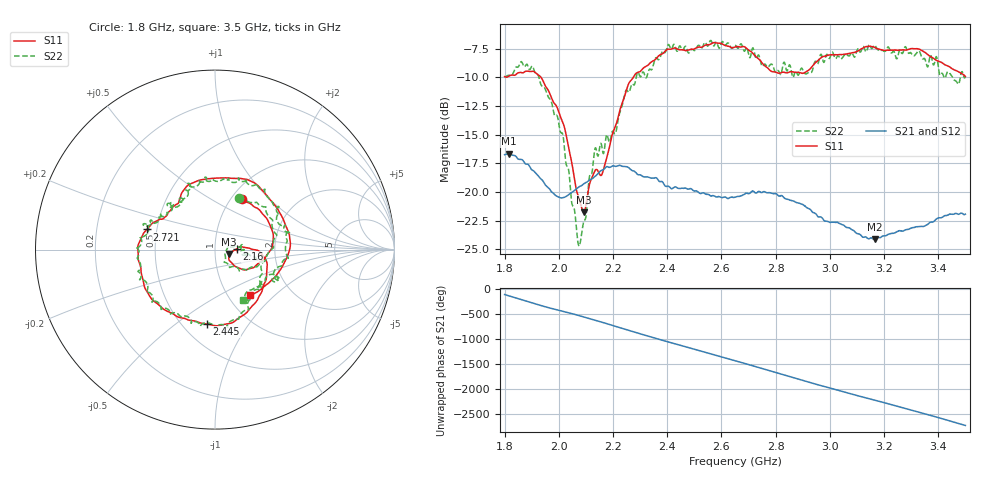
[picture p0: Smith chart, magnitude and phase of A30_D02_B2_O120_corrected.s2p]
! Created with skrf 1.9.0 (http://scikit-rf.org).
# Hz S RI R 50.0
!freq ReS11 ImS11 ReS21 ImS21 ReS12 ImS12 ReS22 ImS22
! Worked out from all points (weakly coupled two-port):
!   1601 points, 1.8 GHz to 3.5 GHz, reference 50 ohm
!   highest |S21| = -16.67 dB at 1.816 GHz (marker M1); lowest = -24.1 dB at 3.165 GHz (marker M2)
!   lowest |S11| = -21.8 dB at 2.092 GHz (marker M3), VSWR 1.18, Z = 58.3 - j2.94 ohm
!   |S11| at or under -10 dB: 1.934 GHz to 2.275 GHz (340.4 MHz wide, 16.2 % of centre)
!   |S22| runs from -24.7 to -6.8 dB; largest |S21 - S12| = 0.0025
!   S11 on the Smith chart (normalised r, x): 1.8 GHz: 1.12, +0.70; 2.16 GHz: 1.27, +0.01; 2.445 GHz: 0.65, -0.66; 2.721 GHz: 0.44, +0.12; 3.5 GHz: 1.26, -0.71
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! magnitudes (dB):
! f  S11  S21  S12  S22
! 1.8 GHz  -9.9  -16.7  -16.7  -9.9
! 1.816 GHz  -9.9  -16.7  -16.7  -9.8
! 1.902 GHz  -9.5  -18.1  -18.1  -9.0
! 1.968 GHz  -11.5  -19.8  -19.9  -11.9
! 2.014 GHz  -13.9  -20.5  -20.5  -14.9
! 2.071 GHz  -20.3  -19.6  -19.6  -24.5
! 2.084 GHz  -21.3  -19.4  -19.4  -23.7
! 2.092 GHz  -21.8  -19.3  -19.3  -22.6
! 2.131 GHz  -18.2  -18.7  -18.7  -16.4
! 2.16 GHz  -18.4  -18.1  -18.0  -16.2
! 2.209 GHz  -14.2  -17.8  -17.7  -14.9
! 2.258 GHz  -10.5  -17.9  -17.9  -11.3
! 2.367 GHz  -8.2  -19.0  -18.9  -8.5
! 2.445 GHz  -7.6  -19.7  -19.7  -7.3
! 2.65 GHz  -7.4  -20.5  -20.4  -7.2
! 2.721 GHz  -8.1  -20.0  -19.9  -7.8
! 2.808 GHz  -9.6  -20.3  -20.2  -9.4
! 2.934 GHz  -9.1  -21.7  -21.7  -9.5
! 3.165 GHz  -7.4  -24.1  -24.1  -7.2
! 3.217 GHz  -7.6  -23.7  -23.6  -7.4
! 3.328 GHz  -7.5  -23.0  -23.0  -7.7
! 3.5 GHz  -9.9  -21.9  -21.9  -9.9
